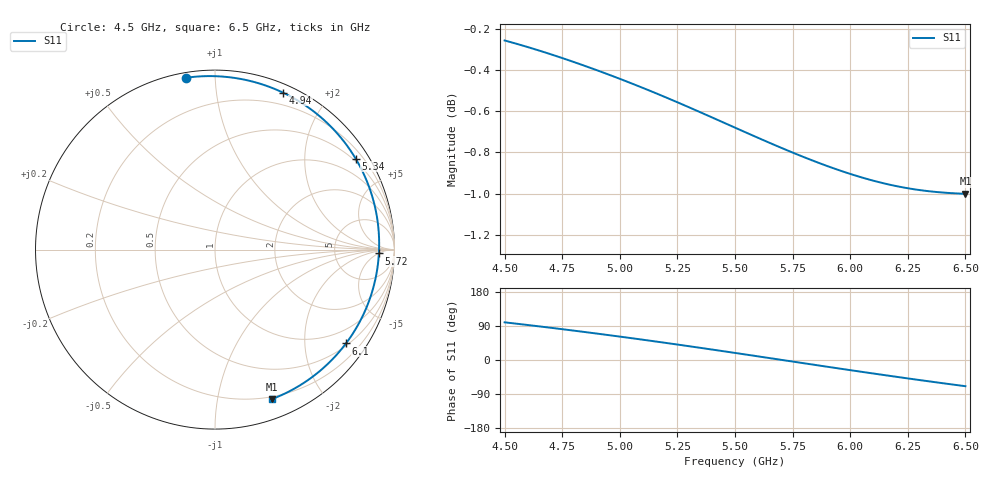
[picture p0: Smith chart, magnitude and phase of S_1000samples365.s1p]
! TOUCHSTONE file generated by CST MICROWAVE STUDIO
! Date and time: Thu Oct 27 22:19:07 2022
! Project name: L.cst
! Parameters = {Di=1.27; Epsilon_r=1.56; InnerDiameter=1.27; Length=2; Lf=10; Lg=60; OuterConductorThickness=0.2921; OuterDiameter=3.6; Wf=3; Wp=41.2; de=1.5; df=6.8; g=0.8; gx=4.83443; gy=4.82058; h=2.34; hf=1.524; px=8.8721; py=8.24242; w=9.7; wx=4.03767; wy=3.42184}
! Header version: 2018
! Port assignment regex: !\s*Touchstone port\s*([0-9]+)\s*=\s*(CST MWS port|CST DS port)\s*([0-9]+|Zmin|Zmax)\s*\(\"(.*)\"\)(\s*mode\s*([0-9]+))?.*
! Touchstone port assignment:
! Touchstone port 1 = CST MWS port 1 ("")
# GHz S DB R 50
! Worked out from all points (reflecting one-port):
!   101 points, 4.5 GHz to 6.5 GHz, reference 50 ohm
!   lowest |S11| = -1.0 dB at 6.5 GHz (marker M1), VSWR 17.37, Z = 8.88 - j71.8 ohm
!   phase of S11 starts at 99 deg and turns -169 deg over the sweep
!   S11 on the Smith chart (normalised r, x): 4.5 GHz: 0.03, +0.85; 4.94 GHz: 0.08, +1.52; 5.34 GHz: 0.42, +3.33; 5.72 GHz: 21, -5; 6.1 GHz: 0.56, -3.02; 6.5 GHz: 0.18, -1.44
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4.5  -0.26 99.4
4.58  -0.28 93.8
4.64  -0.30 89.5
4.76  -0.35 80.6
4.86  -0.38 72.9
4.94  -0.42 66.6
5  -0.44 61.8
5.06  -0.47 56.8
5.12  -0.50 51.9
5.18  -0.52 46.8
5.26  -0.56 39.9
5.34  -0.60 32.9
5.42  -0.64 25.8
5.5  -0.68 18.7
5.56  -0.71 13.2
5.62  -0.74 7.8
5.72  -0.79 -1.3
5.76  -0.81 -5.0
5.82  -0.83 -10.5
5.88  -0.86 -15.9
5.94  -0.88 -21.4
6  -0.90 -26.7
6.1  -0.94 -35.6
6.18  -0.96 -42.6
6.26  -0.98 -49.4
6.38  -0.99 -59.5
6.44  -1.00 -64.3
6.5  -1.00 -69.1
